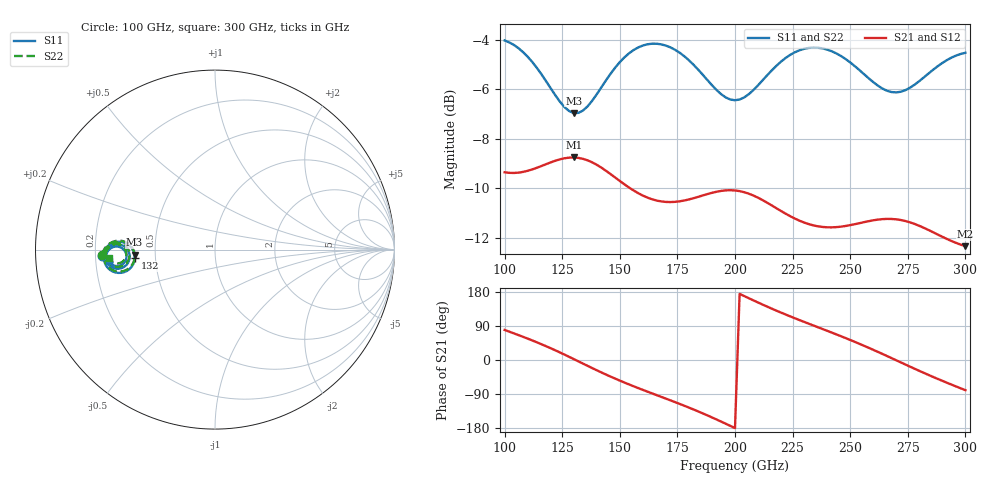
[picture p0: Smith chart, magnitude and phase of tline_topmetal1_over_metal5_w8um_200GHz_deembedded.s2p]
! Created with skrf 2.0.1 (http://scikit-rf.org).
# GHz S DB R 50.0
!freq dBS11 angS11 dBS21 angS21 dBS12 angS12 dBS22 angS22
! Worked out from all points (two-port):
!   101 points, 100 GHz to 300 GHz, reference 50 ohm
!   highest |S21| = -8.75 dB at 130 GHz (marker M1); lowest = -12.3 dB at 300 GHz (marker M2)
!   |S21| within 3 dB of the highest: start of sweep to 285.4 GHz
!   lowest |S11| = -7.0 dB at 130 GHz (marker M3), VSWR 2.63, Z = 19 - j1.36 ohm
!   |S11| at or under -10 dB: nowhere
!   |S22| runs from -7.0 to -4.0 dB; largest |S21 - S12| = 3.4e-13
!   S11 on the Smith chart (normalised r, x): 100 GHz: 0.23, -0.03; 132 GHz: 0.38, -0.04; 300 GHz: 0.25, -0.05
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100  -4.01 -176.9  -9.35 79.3  -9.35 79.3  -4.02 -177.5
116  -5.39 175.3  -9.10 41.6  -9.10 41.6  -5.39 174.7
124  -6.49 177.7  -8.83 19.9  -8.83 19.9  -6.50 177.0
130  -6.95 -176.4  -8.75 2.5  -8.75 2.5  -6.96 -177.1
132  -6.95 -174.0  -8.77 -3.5  -8.77 -3.5  -6.96 -174.8
134  -6.85 -171.8  -8.81 -9.4  -8.81 -9.4  -6.86 -172.5
142  -5.91 -166.4  -9.17 -32.8  -9.17 -32.8  -5.92 -167.1
150  -4.89 -167.1  -9.70 -54.4  -9.70 -54.4  -4.90 -167.9
160  -4.22 -172.1  -10.30 -78.8  -10.30 -78.8  -4.22 -173.0
168  -4.17 -176.9  -10.53 -97.3  -10.53 -97.3  -4.18 -177.8
184  -5.19 176.9  -10.35 -135.7  -10.35 -135.7  -5.20 175.9
192  -6.02 178.5  -10.14 -157.0  -10.14 -157.0  -6.03 177.5
200  -6.44 -175.9  -10.09 -179.7  -10.09 -179.7  -6.44 -176.9
208  -6.02 -170.3  -10.29 157.3  -10.29 157.3  -6.03 -171.3
216  -5.22 -168.8  -10.70 135.4  -10.70 135.4  -5.23 -169.9
224  -4.60 -170.8  -11.13 115.0  -11.13 115.0  -4.60 -172.0
234  -4.30 -175.3  -11.50 91.1  -11.50 91.1  -4.31 -176.6
252  -5.06 178.3  -11.46 47.9  -11.46 47.9  -5.06 177.0
268  -6.11 -177.0  -11.24 4.8  -11.24 4.8  -6.11 -178.4
276  -5.93 -172.4  -11.38 -17.6  -11.38 -17.6  -5.93 -173.9
284  -5.35 -170.4  -11.69 -39.4  -11.69 -39.4  -5.36 -171.9
300  -4.51 -174.0  -12.35 -79.7  -12.35 -79.7  -4.52 -175.5
